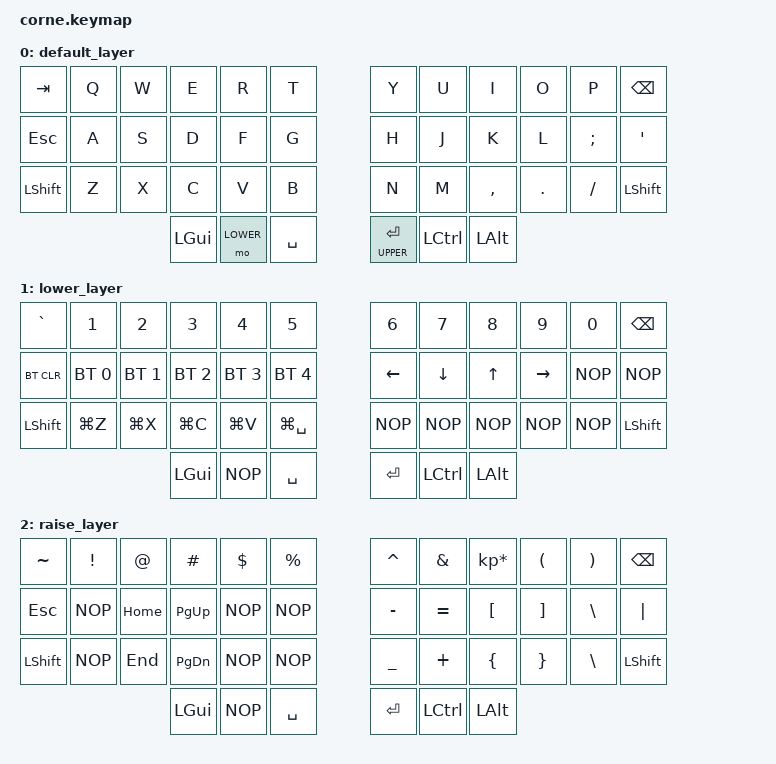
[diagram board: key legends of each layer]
/*
 * Copyright (c) 2020 The ZMK Contributors
 *
 * SPDX-License-Identifier: MIT
 */

#include <behaviors.dtsi>
#include <dt-bindings/zmk/keys.h>
#include <dt-bindings/zmk/bt.h>

#define NOP trans
#define ASTRSK KP_MULTIPLY

#define DEFAULT 0
#define LOWER 1
#define UPPER 2

/ {
    keymap {
        compatible = "zmk,keymap";

        default_layer {
            bindings = <
                &kp TAB    &kp Q        &kp W        &kp E        &kp R        &kp T           /*        */   &kp Y     &kp U     &kp I      &kp O      &kp  P     &kp BSPC
                &kp ESC    &kp A        &kp S        &kp D        &kp F        &kp G           /*        */   &kp H     &kp J     &kp K      &kp L      &kp  SEMI  &kp SQT
                &kp LSHFT  &kp Z        &kp X        &kp C        &kp V        &kp B           /*        */   &kp N     &kp M     &kp COMMA  &kp DOT    &kp  FSLH  &kp LSHFT
                                                     &kp LGUI     &mo LOWER    &kp SPACE       /*        */   &lt UPPER RET    &kp LCTRL     &kp LALT
                >;
        };
        lower_layer {
            bindings = <
                &kp GRAVE  &kp N1       &kp N2       &kp N3       &kp N4       &kp N5          /*        */   &kp N6    &kp N7    &kp N8     &kp N9     &kp  N0    &kp BSPC
                &bt BT_CLR &bt BT_SEL 0 &bt BT_SEL 1 &bt BT_SEL 2 &bt BT_SEL 3 &bt BT_SEL 4    /*        */   &kp LEFT  &kp DOWN  &kp UP     &kp RIGHT  &NOP       &NOP  
                &kp LSHFT  &kp LG(Z)    &kp LG(X)    &kp LG(C)    &kp LG(V)    &kp LG(SPACE)   /*        */   &NOP      &NOP      &NOP       &NOP       &NOP       &kp LSHFT
                                                     &kp LGUI     &NOP         &kp SPACE       /*        */   &kp RET   &kp LCTRL &kp LALT
                >;
        };

        raise_layer {
            bindings = <
                &kp TILDE  &kp EXCL     &kp AT       &kp HASH     &kp DLLR     &kp PRCNT       /*        */   &kp CARET &kp AMPS  &kp ASTRSK &kp LPAR   &kp RPAR    &kp BSPC
                &kp ESC    &NOP         &kp HOME     &kp PG_UP    &NOP         &NOP            /*        */   &kp MINUS &kp EQUAL &kp LBKT   &kp RBKT   &kp BSLH    &kp PIPE
                &kp LSHFT  &NOP         &kp END      &kp PG_DN    &NOP         &NOP            /*        */   &kp UNDER &kp PLUS  &kp LBRC   &kp RBRC   &kp BSLH    &kp LSHFT  
                                                     &kp LGUI     &NOP         &kp SPACE       /*        */   &kp RET   &kp LCTRL &kp LALT
                >;
        };
    };
};
